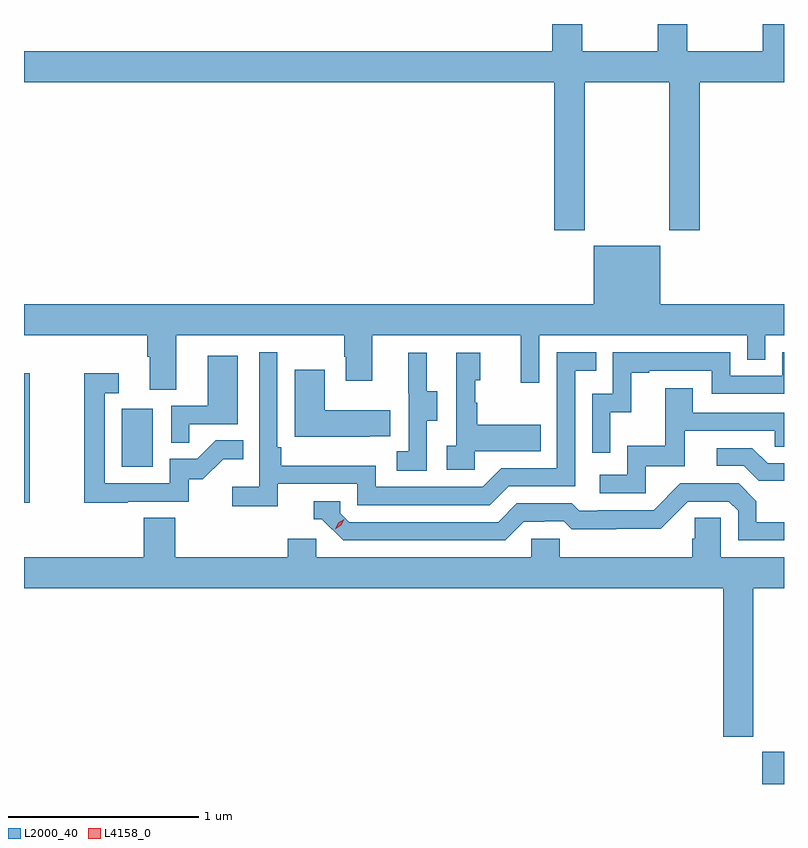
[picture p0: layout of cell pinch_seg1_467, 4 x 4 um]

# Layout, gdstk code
import gdstk
lib = gdstk.Library(unit=1e-6, precision=1e-09)
def R(c, l, rs):  # rectangles x0, y0, x1, y1
    for r in rs: c.add(gdstk.rectangle(r[:2], r[2:], *l))
def P(c, l, *ps):  # polygons
    for p in ps: c.add(gdstk.Polygon(p, *l))
L2000_40 = (2000, 40)
L4158_0 = (4158, 0)

pinch_seg1_467 = lib.new_cell('pinch_seg1_467')
R(pinch_seg1_467, L2000_40, [(1110.86,532.055,1110.974,532.225), (1106.974,533.536,1107.004,534.217), (1107.488,533.724,1107.652,534.031)])
P(pinch_seg1_467, L2000_40, [(1109.925,535.748),(1110.37,535.748),(1110.37,534.969),(1110.53,534.969),(1110.53,535.748),(1110.974,535.748),(1110.974,536.055),(1110.862,536.055),(1110.862,535.912),(1110.464,535.912),(1110.464,536.055),(1110.31,536.055),(1110.31,535.912),(1109.913,535.912),(1109.913,536.055),(1109.753,536.055),(1109.753,535.912),(1106.974,535.912),(1106.974,535.748),(1109.765,535.748),(1109.765,534.969),(1109.925,534.969)],
  [(1106.974,534.416),(1107.623,534.416),(1107.623,534.304),(1107.635,534.304),(1107.635,534.13),(1107.775,534.13),(1107.775,534.416),(1108.66,534.416),(1108.66,534.305),(1108.667,534.305),(1108.667,534.177),(1108.807,534.177),(1108.807,534.416),(1109.588,534.416),(1109.588,534.168),(1109.685,534.168),(1109.685,534.416),(1110.78,534.416),(1110.78,534.289),(1110.876,534.289),(1110.876,534.416),(1110.974,534.416),(1110.974,534.58),(1110.322,534.58),(1110.322,534.889),(1109.972,534.889),(1109.972,534.58),(1106.974,534.58)],
  [(1108.31,533.634),(1108.728,533.634),(1108.728,533.523),(1109.425,533.523),(1109.524,533.622),(1109.874,533.622),(1109.874,534.231),(1109.987,534.231),(1109.987,534.327),(1109.778,534.327),(1109.778,533.718),(1109.487,533.718),(1109.388,533.619),(1108.824,533.619),(1108.824,533.731),(1108.328,533.731),(1108.328,533.827),(1108.308,533.827),(1108.308,534.328),(1108.212,534.328),(1108.212,533.62),(1108.071,533.62),(1108.071,533.518),(1108.31,533.518)],
  [(1110.06,534.011),(1110.17,534.011),(1110.17,534.219),(1110.265,534.219),(1110.265,534.231),(1110.594,534.231),(1110.594,534.108),(1110.974,534.108),(1110.974,534.327),(1110.966,534.327),(1110.966,534.204),(1110.69,534.204),(1110.69,534.327),(1110.072,534.327),(1110.072,534.108),(1109.964,534.108),(1109.964,533.799),(1110.06,533.799)],
  [(1109.094,533.968),(1109.149,533.968),(1109.149,534.123),(1109.095,534.123),(1109.095,534.325),(1108.997,534.325),(1108.997,534.111),(1108.998,534.111),(1108.998,533.807),(1108.935,533.807),(1108.935,533.704),(1109.094,533.704)],
  [(1109.346,533.807),(1109.693,533.807),(1109.693,533.947),(1109.359,533.947),(1109.359,534.062),(1109.349,534.062),(1109.349,534.18),(1109.374,534.18),(1109.374,534.325),(1109.25,534.325),(1109.25,533.834),(1109.199,533.834),(1109.199,533.709),(1109.346,533.709)],
  [(1107.845,533.949),(1108.099,533.949),(1108.099,534.31),(1107.941,534.31),(1107.941,534.045),(1107.75,534.045),(1107.75,533.851),(1107.845,533.851)],
  [(1108.793,533.885),(1108.901,533.885),(1108.901,534.022),(1108.558,534.022),(1108.558,534.235),(1108.4,534.235),(1108.4,533.882),(1108.793,533.882)],
  [(1107.521,533.541),(1107.84,533.541),(1107.84,533.658),(1107.916,533.658),(1108.023,533.765),(1108.127,533.765),(1108.127,533.864),(1107.983,533.864),(1107.885,533.766),(1107.741,533.766),(1107.741,533.637),(1107.399,533.637),(1107.399,534.111),(1107.472,534.111),(1107.472,534.217),(1107.291,534.217),(1107.291,533.536),(1107.521,533.536)],
  [(1110.246,533.727),(1110.451,533.727),(1110.451,533.913),(1110.925,533.913),(1110.925,533.829),(1110.974,533.829),(1110.974,534.009),(1110.493,534.009),(1110.493,534.139),(1110.349,534.139),(1110.349,533.836),(1110.15,533.836),(1110.15,533.682),(1110.003,533.682),(1110.003,533.586),(1110.246,533.586)],
  [(1110.974,533.742),(1110.889,533.742),(1110.808,533.823),(1110.621,533.823),(1110.621,533.73),(1110.762,533.73),(1110.842,533.65),(1110.974,533.65)],
  [(1109.605,533.436),(1109.712,533.436),(1109.712,533.439),(1109.815,533.439),(1109.857,533.397),(1110.09,533.397),(1110.09,533.399),(1110.326,533.399),(1110.468,533.541),(1110.684,533.541),(1110.732,533.493),(1110.732,533.337),(1110.974,533.337),(1110.974,533.433),(1110.829,533.433),(1110.829,533.543),(1110.735,533.637),(1110.429,533.637),(1110.288,533.496),(1109.995,533.496),(1109.995,533.493),(1109.896,533.493),(1109.857,533.532),(1109.568,533.532),(1109.469,533.433),(1108.686,533.433),(1108.638,533.481),(1108.638,533.544),(1108.499,533.544),(1108.499,533.448),(1108.542,533.448),(1108.653,533.337),(1109.506,533.337)],
  [(1110.813,533.084),(1110.974,533.084),(1110.974,533.248),(1110.642,533.248),(1110.642,533.456),(1110.505,533.456),(1110.505,533.346),(1110.491,533.346),(1110.491,533.248),(1109.793,533.248),(1109.793,533.346),(1109.643,533.346),(1109.643,533.248),(1108.512,533.248),(1108.512,533.346),(1108.361,533.346),(1108.361,533.248),(1107.77,533.248),(1107.77,533.456),(1107.605,533.456),(1107.605,533.248),(1106.974,533.248),(1106.974,533.084),(1110.653,533.084),(1110.653,532.305),(1110.813,532.305)])
P(pinch_seg1_467, L4158_0, [(1108.613,533.397),(1108.613,533.397),(1108.629,533.43),(1108.66,533.449),(1108.66,533.449),(1108.66,533.448),(1108.644,533.416),(1108.613,533.397)])

lib.write_gds('pinch_seg1_467.gds')
